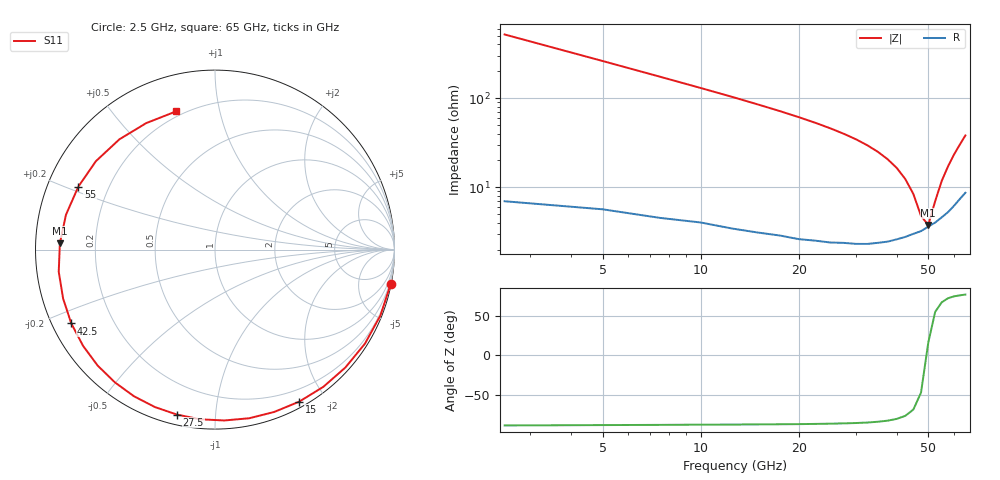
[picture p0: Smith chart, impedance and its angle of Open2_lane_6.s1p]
! File created by SignalIntegrity v1.5.1: Signal and Power Integrity Tools
! https://github.com/Nubis-Communications/SignalIntegrity
# MHz S MA R 50.0
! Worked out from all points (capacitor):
!   26 points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, 2.5 GHz to 65 GHz, reference 50 ohm
!   read as one part to ground: C = 121 fF near 2.5 GHz
!   lowest |Z| = 3.77 ohm at 50 GHz (marker M1)
!   series resonance near 49.43 GHz, so ESL is about 86 pH
!   S11 on the Smith chart (normalised r, x): 2.5 GHz: 0, -10; 15 GHz: 0.06, -1.69; 27.5 GHz: 0.05, -0.79; 42.5 GHz: 0.06, -0.24; 55 GHz: 0.09, +0.22; 65 GHz: 0.17, +0.74
2500  0.9974 -11.1
5000  0.992 -21.7
7500  0.9862 -32.1
10000  0.9794 -42.1
12500  0.9741 -51.7
15000  0.9684 -61.0
17500  0.9629 -69.9
20000  0.9588 -78.5
22500  0.9534 -86.9
25000  0.9491 -95.0
27500  0.9433 -103.0
30000  0.939 -110.8
32500  0.9335 -118.9
35000  0.9264 -127.0
37500  0.9193 -135.3
40000  0.9099 -143.9
42500  0.9003 -152.8
45000  0.8891 -162.1
47500  0.8794 -171.9
50000  0.865 177.6
52500  0.8527 166.8
55000  0.8383 155.2
57500  0.8265 143.4
60000  0.8132 130.9
62500  0.8022 118.6
65000  0.7999 105.7
